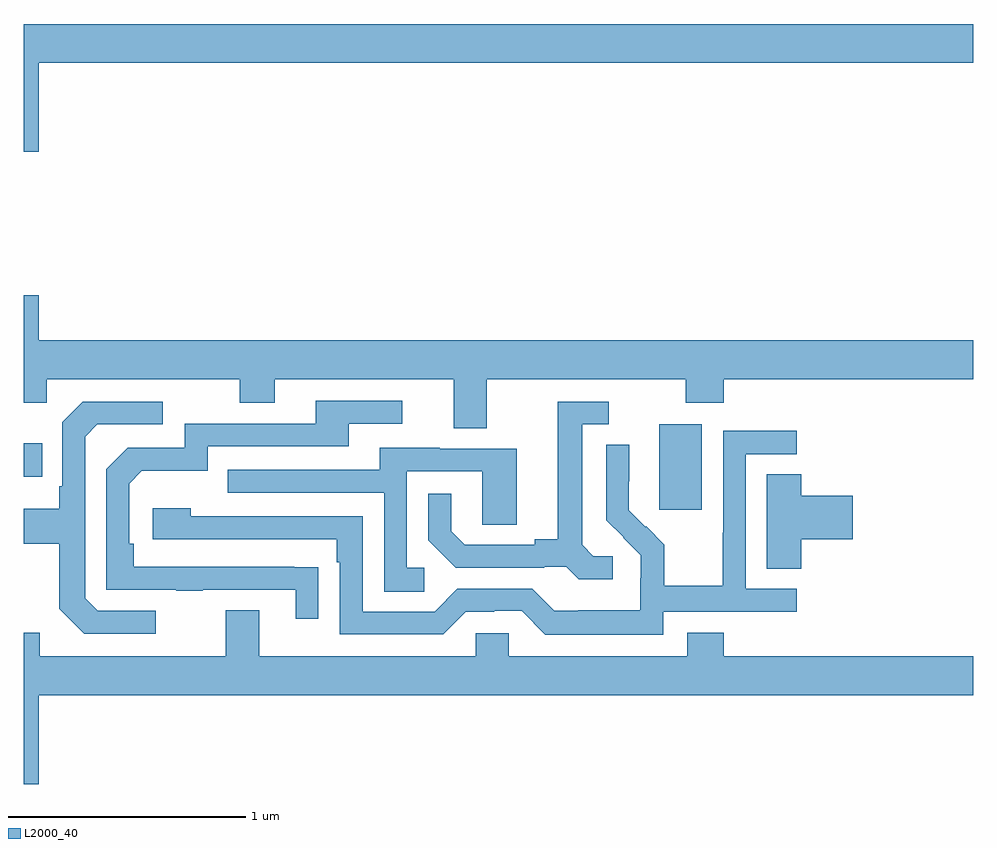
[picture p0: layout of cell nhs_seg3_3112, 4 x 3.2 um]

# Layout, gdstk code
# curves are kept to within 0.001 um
import gdstk
lib = gdstk.Library(unit=1e-6, precision=1e-09)
def R(c, l, rs):  # rectangles x0, y0, x1, y1
    for r in rs: c.add(gdstk.rectangle(r[:2], r[2:], *l))
def P(c, l, *ps):  # polygons
    for p in ps: c.add(gdstk.Polygon(p, *l))
L2000_40 = (2000, 40)

nhs_seg3_3112 = lib.new_cell('nhs_seg3_3112')
R(nhs_seg3_3112, L2000_40, [(275.678,685.713,275.857,686.074), (273,685.853,273.077,685.993)])
P(nhs_seg3_3112, L2000_40, [(273.064,687.596),(277,687.596),(277,687.76),(273,687.76),(273,687.222),(273.064,687.222)],
  [(274.951,686.264),(275.788,686.264),(275.788,686.165),(275.948,686.165),(275.948,686.264),(277,686.264),(277,686.428),(273.064,686.428),(273.064,686.617),(273,686.617),(273,686.165),(273.096,686.165),(273.096,686.264),(273.91,686.264),(273.91,686.165),(274.057,686.165),(274.057,686.264),(274.811,686.264),(274.811,686.056),(274.951,686.056)],
  [(274.241,685.472),(273.464,685.473),(273.464,685.57),(273.444,685.57),(273.444,685.824),(273.497,685.877),(273.774,685.877),(273.774,685.98),(274.369,685.98),(274.369,686.076),(274.594,686.076),(274.594,686.172),(274.229,686.172),(274.229,686.076),(273.678,686.076),(273.678,685.974),(273.438,685.974),(273.348,685.884),(273.348,685.377),(273.643,685.377),(273.643,685.372),(273.755,685.372),(273.755,685.377),(274.145,685.377),(274.145,685.254),(274.241,685.254)],
  [(273.556,685.287),(273.312,685.287),(273.258,685.341),(273.258,686.022),(273.309,686.073),(273.586,686.073),(273.586,686.169),(273.249,686.169),(273.162,686.082),(273.162,685.813),(273.15,685.813),(273.15,685.717),(273,685.717),(273,685.57),(273.15,685.57),(273.15,685.297),(273.255,685.191),(273.556,685.191)],
  [(275.482,685.518),(275.4,685.518),(275.353,685.565),(275.353,686.073),(275.464,686.073),(275.464,686.169),(275.249,686.169),(275.249,685.589),(275.153,685.589),(275.153,685.566),(274.858,685.566),(274.801,685.623),(274.801,685.78),(274.704,685.78),(274.704,685.586),(274.82,685.47),(275.192,685.47),(275.192,685.473),(275.286,685.473),(275.338,685.421),(275.482,685.421)],
  [(275.694,685.284),(276.256,685.284),(276.256,685.38),(276.042,685.38),(276.042,685.947),(276.256,685.947),(276.256,686.046),(275.946,686.046),(275.946,685.616),(275.944,685.616),(275.944,685.393),(275.699,685.393),(275.699,685.567),(275.622,685.644),(275.619,685.641),(275.549,685.712),(275.55,685.988),(275.454,685.988),(275.454,685.67),(275.6,685.522),(275.6,685.425),(275.598,685.425),(275.598,685.291),(275.335,685.291),(275.335,685.287),(275.235,685.287),(275.142,685.38),(274.827,685.38),(274.731,685.284),(274.428,685.284),(274.428,685.686),(273.704,685.686),(273.704,685.72),(273.543,685.72),(273.543,685.59),(274.319,685.59),(274.319,685.493),(274.332,685.493),(274.332,685.188),(274.767,685.188),(274.863,685.284),(274.982,685.284),(274.982,685.287),(275.097,685.287),(275.197,685.187),(275.694,685.187)],
  [(274.687,685.47),(274.614,685.47),(274.614,685.875),(274.932,685.875),(274.932,685.651),(275.077,685.651),(275.077,685.971),(274.753,685.971),(274.753,685.975),(274.499,685.975),(274.499,685.881),(273.859,685.881),(273.859,685.785),(274.518,685.785),(274.518,685.369),(274.687,685.369)],
  [(276.275,685.589),(276.493,685.589),(276.493,685.772),(276.275,685.772),(276.275,685.862),(276.131,685.862),(276.131,685.465),(276.275,685.465)],
  [(273.064,684.932),(277,684.932),(277,685.096),(275.948,685.096),(275.948,685.195),(275.795,685.195),(275.795,685.096),(275.043,685.096),(275.043,685.194),(274.905,685.194),(274.905,685.096),(273.991,685.096),(273.991,685.291),(273.851,685.291),(273.851,685.096),(273.067,685.096),(273.067,685.195),(273,685.195),(273,684.558),(273.064,684.558)])

lib.write_gds('nhs_seg3_3112.gds')
